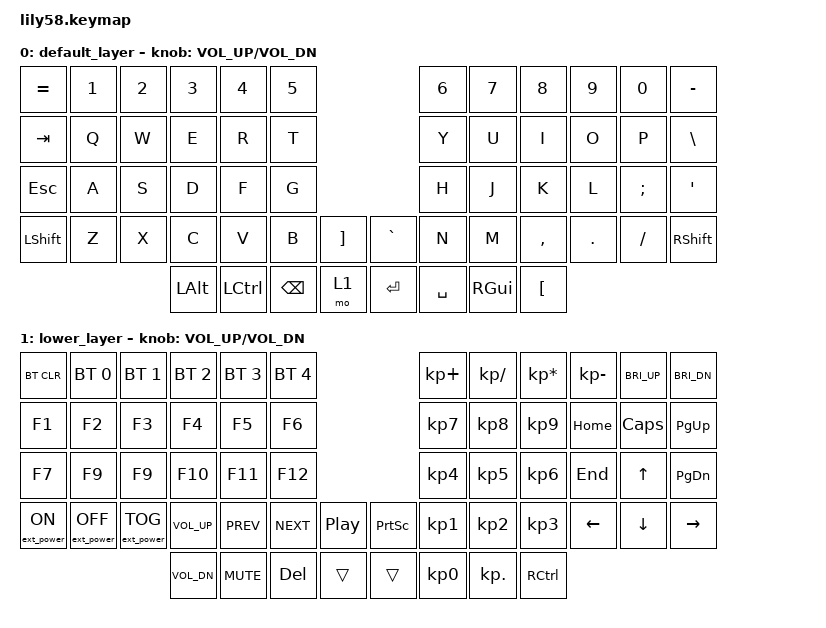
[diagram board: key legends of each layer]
/*
 * Copyright (c) 2020 The ZMK Contributors
 *
 * SPDX-License-Identifier: MIT
 */

#include <behaviors.dtsi>
#include <dt-bindings/zmk/keys.h>
#include <dt-bindings/zmk/bt.h>
#include <dt-bindings/zmk/ext_power.h>

/ {
    keymap {
        compatible = "zmk,keymap";

        default_layer {
// --------------------------------------------------------------------------------------------------------
// |   =   |  1  |  2  |  3   |  4   |  5   |                   |  6   |  7   |  8  |  9  |   0   |   -   |
// |  TAB  |  Q  |  W  |  E   |  R   |  T   |                   |  Y   |  U   |  I  |  O  |   P   |   \   |
// |  ESC  |  A  |  S  |  D   |  F   |  G   |                   |  H   |  J   |  K  |  L  |   ;   |   '   |
// | SHIFT |  Z  |  X  |  C   |  V   |  B   |  "]"  |  |  GR'  |  N   |  M   |  ,  |  .  |   /   | SHIFT |
//                     | ALT  | CTRL |BKSPC | LOWER |  | ENTER | SPACE| LGUI | "[" |
            bindings = <
&kp EQUAL &kp N1 &kp N2 &kp N3    &kp N4     &kp N5                       &kp N6     &kp N7   &kp N8    &kp N9  &kp N0   &kp MINUS
&kp TAB   &kp Q  &kp W  &kp E     &kp R      &kp T                        &kp Y      &kp U    &kp I     &kp O   &kp P    &kp BSLH
&kp ESC   &kp A  &kp S  &kp D     &kp F      &kp G                        &kp H      &kp J    &kp K     &kp L   &kp SEMI &kp SQT
&kp LSHFT &kp Z  &kp X  &kp C     &kp V      &kp B    &kp RBKT  &kp GRAVE &kp N      &kp M    &kp COMMA &kp DOT &kp FSLH &kp RSHFT
                        &kp LALT  &kp LCTRL  &kp BSPC &mo 1     &kp ENTER &kp SPACE  &kp RGUI &kp LBKT
            >;

            sensor-bindings = <&inc_dec_kp C_VOL_UP C_VOL_DN>;
        };

        lower_layer {
// ------------------------------------------------------------------------------------------------------
// | BTCLR |  BT1  | BT2  |  BT3 |  BT4 |  BT5 |                  |  +  |  /  |  *  |  -   |BRI_U|BRI_D |
// |  F1   |   F2  |  F3  |  F4  |  F5  |  F6  |                  |  7  |  8  |  9  | HOME |CAPS | PG U |
// |  F7   |   F8  |  F9  |  F10 |  F11 |  F12 |                  |  4  |  5  |  6  | END  |  ^  | PG D |
// | EP_ON | EP_OFF|EP_TOG| V UP | PREV | NEXT | PL/PU |  | PSCRN |  1  |  2  |  3  |  <-  |  V  |  ->  |
//                        | V DN | MUTE | **** |  DEL  |  | ENTER |  0  |  .  | ALT |
            bindings = <
&bt BT_CLR       &bt BT_SEL 0      &bt BT_SEL 1      &bt BT_SEL 2  &bt BT_SEL 3 &bt BT_SEL 4                    &kp KP_PLUS &kp KP_DIVIDE &kp KP_MULTIPLY &kp KP_MINUS  &kp C_BRI_UP &kp C_BRI_DN
&kp F1           &kp F2            &kp F3            &kp F4        &kp F5       &kp F6                          &kp KP_N7   &kp KP_N8     &kp KP_N9       &kp HOME      &kp CAPS     &kp PG_UP
&kp F7           &kp F9            &kp F9            &kp F10       &kp F11      &kp F12                         &kp KP_N4   &kp KP_N5     &kp KP_N6       &kp END       &kp UP       &kp PG_DN
&ext_power EP_ON &ext_power EP_OFF &ext_power EP_TOG &kp C_VOL_UP  &kp C_PREV   &kp C_NEXT   &kp C_PP &kp PSCRN &kp KP_N1   &kp KP_N2     &kp KP_N3       &kp LEFT      &kp DOWN     &kp RIGHT
                                                     &kp C_VOL_DN  &kp C_MUTE   &kp DEL      &trans   &trans    &kp KP_N0   &kp KP_DOT    &kp RCTRL
            >;

            sensor-bindings = <&inc_dec_kp C_VOL_UP C_VOL_DN>;
        };
    };
};
